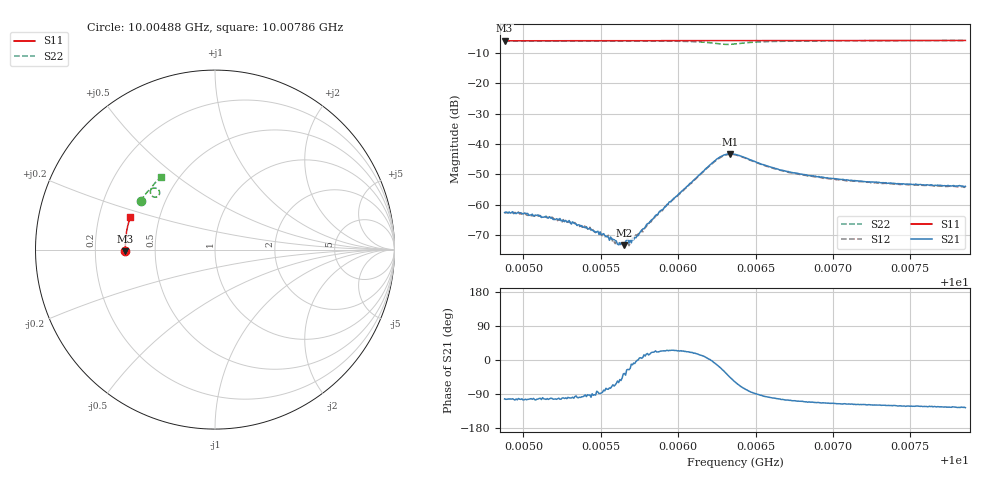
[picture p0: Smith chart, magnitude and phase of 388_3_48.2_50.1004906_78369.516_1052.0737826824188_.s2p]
#  HZ  S  RI  R  50.00
! Rohde & Schwarz Vector Network Analyzer
! Rohde-Schwarz,ZNB20-2Port,1311601062101988,3.16
! Created: UTC 3/20/2024, 11:53:30 AM
! freq[Hz]  re:S11  im:S11  re:S21  im:S21  re:S12  im:S12  re:S22  im:S22
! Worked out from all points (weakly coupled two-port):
!   401 points, 10.00488 GHz to 10.00786 GHz, reference 50 ohm
!   highest |S21| = -43.29 dB at 10.00634 GHz (marker M1); lowest = -73.4 dB at 10.00565 GHz (marker M2)
!   lowest |S11| = -6.0 dB at 10.00488 GHz (marker M3), VSWR 2.99, Z = 16.7 - j0.452 ohm
!   |S11| at or under -10 dB: nowhere
!   |S22| runs from -7.2 to -6.0 dB; largest |S21 - S12| = 0.00038
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1.0004878e10  -0.4992 -0.0102  -0.000163 -0.000721  -0.000138 -0.000737  -0.4136 0.2704
1.0005012e10  -0.4996 -0.00152  -0.000166 -0.000701  -0.000139 -0.000691  -0.4088 0.2783
1.0005176e10  -0.4998 0.00921  -0.000114 -0.000586  -0.000106 -0.000576  -0.4027 0.2881
1.000528e10  -0.4999 0.0159  -0.000107 -0.000503  -8.88e-05 -0.000521  -0.3986 0.294
1.0005377e10  -0.4998 0.0223  -5.42e-05 -0.000447  -1.26e-05 -0.000427  -0.3944 0.2999
1.0005511e10  -0.4997 0.0311  2.81e-05 -0.000322  6.22e-05 -0.0003  -0.3884 0.308
1.0005556e10  -0.4994 0.0338  7.33e-05 -0.000247  8.91e-05 -0.000266  -0.3863 0.3108
1.0005593e10  -0.4994 0.0363  0.000107 -0.000239  0.000102 -0.000203  -0.3843 0.3131
1.0005623e10  -0.4994 0.038  0.000147 -0.000184  0.000133 -0.000174  -0.3828 0.3149
1.0005652e10  -0.4992 0.0401  0.000175 -0.000124  0.000161 -0.000129  -0.3814 0.3167
1.000569e10  -0.4991 0.0424  0.000242 -9.86e-05  0.000224 -5.97e-05  -0.3792 0.319
1.0005727e10  -0.4992 0.0449  0.000282 -1.98e-05  0.000319 -8.91e-07  -0.377 0.3213
1.0005764e10  -0.4989 0.0475  0.000372 2.91e-05  0.000379 6.13e-05  -0.3749 0.3237
1.0005876e10  -0.4983 0.0546  0.000699 0.000279  0.000645 0.000311  -0.3668 0.3309
1.0006233e10  -0.4954 0.0775  0.00513 -0.000652  0.00505 -0.000377  -0.3121 0.3298
1.0006285e10  -0.495 0.0806  0.00575 -0.00275  0.00575 -0.00238  -0.309 0.311
1.0006337e10  -0.4946 0.0837  0.0047 -0.00498  0.00484 -0.00466  -0.3216 0.2945
1.0006367e10  -0.4944 0.0855  0.00358 -0.0057  0.0038 -0.0054  -0.3325 0.2918
1.0006657e10  -0.4919 0.1041  -0.000833 -0.00363  -0.000692 -0.00363  -0.3576 0.3348
1.0006866e10  -0.4894 0.1174  -0.00105 -0.00276  -0.000937 -0.00276  -0.3483 0.3533
1.0007365e10  -0.4819 0.1486  -0.00113 -0.00194  -0.00101 -0.00193  -0.3232 0.3826
1.0007856e10  -0.4727 0.179  -0.00117 -0.00163  -0.00105 -0.00164  -0.2983 0.4055
